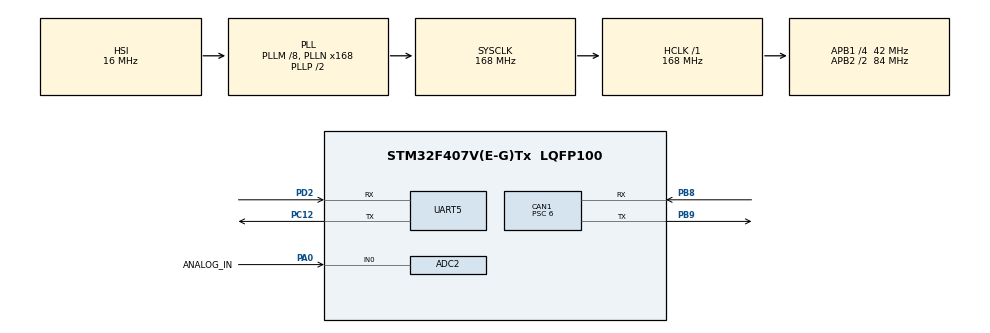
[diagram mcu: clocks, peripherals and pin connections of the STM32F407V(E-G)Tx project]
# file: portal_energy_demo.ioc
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Mcu.Family=STM32F4
FREERTOS.Queues01=adcDataQueue,16,8,1,Dynamic,NULL,NULL;canDataQueue,16,41,1,Dynamic,NULL,NULL;canRxDataQueue,20,8,1,Dynamic,NULL,NULL
CAN1.NART=ENABLE
PH0-OSC_IN.Signal=RCC_OSC_IN
RCC.CortexFreq_Value=168000000
FREERTOS.BinarySemaphores01=adcPinConversionReady,Dynamic,NULL;adcTemperatureConversionReady,Dynamic,NULL;uartTxReady,Dynamic,NULL;uartRxReady,Dynamic,NULL
Dma.ADC1.1.MemDataAlignment=DMA_MDATAALIGN_HALFWORD
VP_ADC1_TempSens_Input.Mode=IN-TempSens
ADC1.ContinuousConvMode=ENABLE
ADC2.Channel-0\#ChannelRegularConversion=ADC_CHANNEL_0
PC12.Signal=UART5_TX
Dma.UART5_TX.2.PeriphDataAlignment=DMA_PDATAALIGN_BYTE
RCC.SYSCLKSource=RCC_SYSCLKSOURCE_PLLCLK
ProjectManager.StackSize=0x400
VP_FREERTOS_VS_CMSIS_V2.Mode=CMSIS_V2
NVIC.UART5_IRQn=true\:5\:0\:false\:false\:true\:true\:true\:true
Dma.UART5_RX.3.MemDataAlignment=DMA_MDATAALIGN_BYTE
Dma.UART5_RX.3.Mode=DMA_NORMAL
Dma.UART5_TX.2.Mode=DMA_NORMAL
FREERTOS.configENABLE_FPU=1
Dma.ADC1.1.Instance=DMA2_Stream0
RCC.HCLKFreq_Value=168000000
Dma.ADC2.0.Direction=DMA_PERIPH_TO_MEMORY
RCC.APB2TimFreq_Value=168000000
Dma.ADC2.0.MemInc=DMA_MINC_ENABLE
Dma.ADC1.1.PeriphDataAlignment=DMA_PDATAALIGN_HALFWORD
NVIC.DMA2_Stream0_IRQn=true\:5\:0\:false\:false\:true\:true\:false\:true
RCC.AHBFreq_Value=168000000
PH0-OSC_IN.Mode=HSE-External-Oscillator
Dma.ADC2.0.Priority=DMA_PRIORITY_LOW
ADC1.Channel-0\#ChannelRegularConversion=ADC_CHANNEL_TEMPSENSOR
RCC.HSE_VALUE=8000000
CAN1.RFLM=ENABLE
Dma.UART5_TX.2.Priority=DMA_PRIORITY_LOW
PA14.Mode=Serial_Wire
VP_SYS_VS_tim1.Mode=TIM1
Dma.ADC1.1.Priority=DMA_PRIORITY_LOW
Dma.ADC1.1.Mode=DMA_NORMAL
SH.ADCx_IN0.0=ADC2_IN0,IN0
Dma.UART5_RX.3.Priority=DMA_PRIORITY_LOW
ADC1.SamplingTime-0\#ChannelRegularConversion=ADC_SAMPLETIME_3CYCLES
NVIC.DMA1_Stream7_IRQn=true\:5\:0\:false\:false\:true\:true\:false\:true
PH1-OSC_OUT.Mode=HSE-External-Oscillator
CAN1.Prescaler=6
Mcu.Package=LQFP100
PB9.Signal=CAN1_TX
NVIC.TimeBase=TIM1_UP_TIM10_IRQn
Dma.ADC1.1.Direction=DMA_PERIPH_TO_MEMORY
Dma.UART5_RX.3.PeriphInc=DMA_PINC_DISABLE
Dma.ADC1.1.MemInc=DMA_MINC_ENABLE
NVIC.TimeBaseIP=TIM1
ADC2.SamplingTime-0\#ChannelRegularConversion=ADC_SAMPLETIME_3CYCLES
Dma.ADC2.0.Mode=DMA_NORMAL
Dma.UART5_TX.2.Direction=DMA_MEMORY_TO_PERIPH
RCC.APB2CLKDivider=RCC_HCLK_DIV2
Dma.ADC2.0.PeriphDataAlignment=DMA_PDATAALIGN_HALFWORD
NVIC.DMA2_Stream2_IRQn=true\:5\:0\:false\:false\:true\:true\:false\:true
Dma.Request2=UART5_TX
Dma.Request1=ADC1
RCC.APB1TimFreq_Value=84000000
Dma.Request3=UART5_RX
NVIC.DMA1_Stream0_IRQn=true\:5\:0\:false\:false\:true\:true\:false\:true
ADC2.Rank-0\#ChannelRegularConversion=1
Dma.UART5_TX.2.Instance=DMA1_Stream7
Dma.Request0=ADC2
CAN1.CalculateTimeBit=1999.99
CAN1.CalculateTimeQuantum=142.85714285714286
Dma.UART5_TX.2.FIFOMode=DMA_FIFOMODE_DISABLE
FREERTOS.Tasks01=defaultTask,8,128,StartDefaultTask,Default,NULL,Dynamic,NULL,NULL;analogTask,24,128,StartAnalogTask,Default,NULL,Dynamic,NULL,NULL;uartTxTask,24,1024,StartUartTxTask,Default,NULL,Dynamic,NULL,NULL;uartRxTask,40,128,StartUartRxTask,Default,NULL,Dynamic,NULL,NULL;canTxTask,8,128,StartCanTxTask,Default,NULL,Dynamic,NULL,NULL;canRxTask,8,128,StartCanRxTask,Default,NULL,Dynamic,NULL,NULL
ADC1.Rank-0\#ChannelRegularConversion=1
CAN1.TXFP=ENABLE
CAN1.CalculateBaudRate=500000
Dma.UART5_TX.2.PeriphInc=DMA_PINC_DISABLE
UART5.VirtualMode=Asynchronous
RCC.APB1CLKDivider=RCC_HCLK_DIV4
PA0-WKUP.GPIO_Label=ANALOG_IN
PA0-WKUP.Signal=ADCx_IN0
PA13.Signal=SYS_JTMS-SWDIO
Dma.UART5_RX.3.Instance=DMA1_Stream0
Dma.UART5_TX.2.MemInc=DMA_MINC_ENABLE
CAN1.BS2=CAN_BS2_2TQ
CAN1.BS1=CAN_BS1_11TQ
ProjectManager.TargetToolchain=STM32CubeIDE
Dma.ADC2.0.MemDataAlignment=DMA_MDATAALIGN_HALFWORD
PB9.Mode=CAN_Activate
RCC.LSE_VALUE=32768
CAN1.ABOM=ENABLE
PD2.Mode=Asynchronous
PC12.Mode=Asynchronous
board=custom
RCC.VCOOutputFreq_Value=336000000
Dma.UART5_TX.2.MemDataAlignment=DMA_MDATAALIGN_BYTE
Dma.ADC2.0.PeriphInc=DMA_PINC_DISABLE
Dma.ADC1.1.FIFOMode=DMA_FIFOMODE_DISABLE
RCC.APB2Freq_Value=84000000
CAN1.Mode=CAN_MODE_SILENT_LOOPBACK
Dma.UART5_RX.3.FIFOMode=DMA_FIFOMODE_DISABLE
PH1-OSC_OUT.Signal=RCC_OSC_OUT
Dma.UART5_RX.3.PeriphDataAlignment=DMA_PDATAALIGN_BYTE
Dma.ADC1.1.PeriphInc=DMA_PINC_DISABLE
ADC1.DMAContinuousRequests=ENABLE
PA13.Mode=Serial_Wire
Mcu.Name=STM32F407V(E-G)Tx
Dma.UART5_RX.3.Direction=DMA_PERIPH_TO_MEMORY
CAN1.SJW=CAN_SJW_2TQ
RCC.48MHZClocksFreq_Value=84000000
RCC.SYSCLKFreq_VALUE=168000000
ADC1.master=1
ADC2.NbrOfConversionFlag=1
PA14.Signal=SYS_JTCK-SWCLK
ProjectManager.HeapSize=0x200
Dma.ADC2.0.FIFOMode=DMA_FIFOMODE_DISABLE
NVIC.TIM1_UP_TIM10_IRQn=true\:0\:0\:false\:false\:true\:false\:false\:true
RCC.HSI_VALUE=16000000
NVIC.PriorityGroup=NVIC_PRIORITYGROUP_4
ADC1.NbrOfConversionFlag=1
RCC.PLLM=8
PB8.Mode=CAN_Activate
RCC.PLLN=168
PB8.Signal=CAN1_RX
PD2.Signal=UART5_RX
RCC.APB1Freq_Value=42000000
Dma.ADC2.0.Instance=DMA2_Stream2
NVIC.CAN1_RX0_IRQn=true\:5\:0\:false\:false\:true\:true\:true\:true
Dma.UART5_RX.3.MemInc=DMA_MINC_ENABLE

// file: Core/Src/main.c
/* USER CODE BEGIN Header */
/**
  ******************************************************************************
  * @file           : main.c
  * @brief          : Main program body
  ******************************************************************************
  * @attention
  *
  * <h2><center>&copy; Copyright (c) 2021 STMicroelectronics.
  * All rights reserved.</center></h2>
  *
  * This software component is licensed by ST under BSD 3-Clause license,
  * the "License"; You may not use this file except in compliance with the
  * License. You may obtain a copy of the License at:
  *                        opensource.org/licenses/BSD-3-Clause
  *
  ******************************************************************************
  */
/* USER CODE END Header */
#include "main.h"
#include "cmsis_os.h"
#include "adc.h"
#include "can.h"
#include "dma.h"
#include "usart.h"
#include "gpio.h"

void SystemClock_Config(void);
void MX_FREERTOS_Init(void);

int main(void)
{

  /* MCU Configuration--------------------------------------------------------*/

  /* Reset of all peripherals, Initializes the Flash interface and the Systick. */
  HAL_Init();

  /* Configure the system clock */
  SystemClock_Config();

  /* Initialize all configured peripherals */
  MX_GPIO_Init();
  MX_DMA_Init();
  MX_ADC2_Init();
  MX_ADC1_Init();
  MX_UART5_Init();
  MX_CAN1_Init();

  /* Init scheduler */
  osKernelInitialize();  /* Call init function for freertos objects (in freertos.c) */
  MX_FREERTOS_Init();
  /* Start scheduler */
  osKernelStart();

  /* We should never get here as control is now taken by the scheduler */
  /* Infinite loop */
  while (1)
  {

  }
}

void SystemClock_Config(void)
{
  RCC_OscInitTypeDef RCC_OscInitStruct = {0};
  RCC_ClkInitTypeDef RCC_ClkInitStruct = {0};

  /** Configure the main internal regulator output voltage
  */
  __HAL_RCC_PWR_CLK_ENABLE();
  __HAL_PWR_VOLTAGESCALING_CONFIG(PWR_REGULATOR_VOLTAGE_SCALE1);
  /** Initializes the RCC Oscillators according to the specified parameters
  * in the RCC_OscInitTypeDef structure.
  */
  RCC_OscInitStruct.OscillatorType = RCC_OSCILLATORTYPE_HSI;
  RCC_OscInitStruct.HSIState = RCC_HSI_ON;
  RCC_OscInitStruct.HSICalibrationValue = RCC_HSICALIBRATION_DEFAULT;
  RCC_OscInitStruct.PLL.PLLState = RCC_PLL_ON;
  RCC_OscInitStruct.PLL.PLLSource = RCC_PLLSOURCE_HSI;
  RCC_OscInitStruct.PLL.PLLM = 8;
  RCC_OscInitStruct.PLL.PLLN = 168;
  RCC_OscInitStruct.PLL.PLLP = RCC_PLLP_DIV2;
  RCC_OscInitStruct.PLL.PLLQ = 4;
  if (HAL_RCC_OscConfig(&RCC_OscInitStruct) != HAL_OK)
  {
    Error_Handler();
  }
  /** Initializes the CPU, AHB and APB buses clocks
  */
  RCC_ClkInitStruct.ClockType = RCC_CLOCKTYPE_HCLK|RCC_CLOCKTYPE_SYSCLK
                              |RCC_CLOCKTYPE_PCLK1|RCC_CLOCKTYPE_PCLK2;
  RCC_ClkInitStruct.SYSCLKSource = RCC_SYSCLKSOURCE_PLLCLK;
  RCC_ClkInitStruct.AHBCLKDivider = RCC_SYSCLK_DIV1;
  RCC_ClkInitStruct.APB1CLKDivider = RCC_HCLK_DIV4;
  RCC_ClkInitStruct.APB2CLKDivider = RCC_HCLK_DIV2;

  if (HAL_RCC_ClockConfig(&RCC_ClkInitStruct, FLASH_LATENCY_5) != HAL_OK)
  {
    Error_Handler();
  }
}

 /**
  * @brief  Period elapsed callback in non blocking mode
  * @note   This function is called  when TIM1 interrupt took place, inside
  * HAL_TIM_IRQHandler(). It makes a direct call to HAL_IncTick() to increment
  * a global variable "uwTick" used as application time base.
  * @param  htim : TIM handle
  * @retval None
  */
void HAL_TIM_PeriodElapsedCallback(TIM_HandleTypeDef *htim)
{
  if (htim->Instance == TIM1) {
    HAL_IncTick();
  }
}

void Error_Handler(void)
{
  __disable_irq();
  while (1)
  {
  }
}

/************************ (C) COPYRIGHT STMicroelectronics *****END OF FILE****/

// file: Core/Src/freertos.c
/* USER CODE BEGIN Header */
/**
  ******************************************************************************
  * File Name          : freertos.c
  * Description        : Code for freertos applications
  ******************************************************************************
  * @attention
  *
  * <h2><center>&copy; Copyright (c) 2021 STMicroelectronics.
  * All rights reserved.</center></h2>
  *
  * This software component is licensed by ST under Ultimate Liberty license
  * SLA0044, the "License"; You may not use this file except in compliance with
  * the License. You may obtain a copy of the License at:
  *                             www.st.com/SLA0044
  *
  ******************************************************************************
  */
/* USER CODE END Header */

#include "FreeRTOS.h"
#include "task.h"
#include "main.h"
#include "cmsis_os.h"

/* USER CODE BEGIN Includes */

#include <string.h>
#include <stdio.h>

/* USER CODE END Includes */

/* USER CODE BEGIN PTD */

volatile uint8_t uartErrorFlag = 0;

/* USER CODE END PTD */

/* USER CODE BEGIN Variables */
extern ADC_HandleTypeDef hadc1;
extern ADC_HandleTypeDef hadc2;

extern UART_HandleTypeDef huart5;

extern CAN_HandleTypeDef hcan1;

uint16_t adcRawBuffer[ADC_BUF_LEN] = {0};

/* USER CODE END Variables */
/* Definitions for defaultTask */
osThreadId_t defaultTaskHandle;
const osThreadAttr_t defaultTask_attributes = {
  .name = "defaultTask",
  .stack_size = 128 * 4,
  .priority = (osPriority_t) osPriorityLow,
};
/* Definitions for analogTask */
osThreadId_t analogTaskHandle;
const osThreadAttr_t analogTask_attributes = {
  .name = "analogTask",
  .stack_size = 128 * 4,
  .priority = (osPriority_t) osPriorityNormal,
};
/* Definitions for uartTxTask */
osThreadId_t uartTxTaskHandle;
const osThreadAttr_t uartTxTask_attributes = {
  .name = "uartTxTask",
  .stack_size = 1024 * 4,
  .priority = (osPriority_t) osPriorityNormal,
};
/* Definitions for uartRxTask */
osThreadId_t uartRxTaskHandle;
const osThreadAttr_t uartRxTask_attributes = {
  .name = "uartRxTask",
  .stack_size = 128 * 4,
  .priority = (osPriority_t) osPriorityHigh,
};
/* Definitions for canTxTask */
osThreadId_t canTxTaskHandle;
const osThreadAttr_t canTxTask_attributes = {
  .name = "canTxTask",
  .stack_size = 128 * 4,
  .priority = (osPriority_t) osPriorityLow,
};
/* Definitions for canRxTask */
osThreadId_t canRxTaskHandle;
const osThreadAttr_t canRxTask_attributes = {
  .name = "canRxTask",
  .stack_size = 128 * 4,
  .priority = (osPriority_t) osPriorityLow,
};
/* Definitions for adcDataQueue */
osMessageQueueId_t adcDataQueueHandle;
const osMessageQueueAttr_t adcDataQueue_attributes = {
  .name = "adcDataQueue"
};
/* Definitions for canDataQueue */
osMessageQueueId_t canDataQueueHandle;
const osMessageQueueAttr_t canDataQueue_attributes = {
  .name = "canDataQueue"
};
/* Definitions for canRxDataQueue */
osMessageQueueId_t canRxDataQueueHandle;
const osMessageQueueAttr_t canRxDataQueue_attributes = {
  .name = "canRxDataQueue"
};
/* Definitions for adcPinConversionReady */
osSemaphoreId_t adcPinConversionReadyHandle;
const osSemaphoreAttr_t adcPinConversionReady_attributes = {
  .name = "adcPinConversionReady"
};
/* Definitions for adcTemperatureConversionReady */
osSemaphoreId_t adcTemperatureConversionReadyHandle;
const osSemaphoreAttr_t adcTemperatureConversionReady_attributes = {
  .name = "adcTemperatureConversionReady"
};
/* Definitions for uartTxReady */
osSemaphoreId_t uartTxReadyHandle;
const osSemaphoreAttr_t uartTxReady_attributes = {
  .name = "uartTxReady"
};
/* Definitions for uartRxReady */
osSemaphoreId_t uartRxReadyHandle;
const osSemaphoreAttr_t uartRxReady_attributes = {
  .name = "uartRxReady"
};

/* USER CODE BEGIN FunctionPrototypes */
uint32_t getAverage(uint16_t* buffer, uint16_t len) {
	uint32_t average = 0;
	for(uint16_t i = 0; i < len; ++i)
		average  += buffer[i];
	return (average / len);
}

int32_t calculateTemperature(const uint32_t* const rawData) {
	if (rawData == NULL)
		return TEMPERATURE_ERROR;

	// Calculate temperature with calibration coefficients
	int32_t temperature = (*rawData - (int32_t) *TEMP30_CAL_ADDR );
	temperature = temperature / (int32_t)(*TEMP110_CAL_ADDR - *TEMP30_CAL_ADDR);
	temperature = temperature + 25;
	return temperature;
}
/* USER CODE END FunctionPrototypes */

void StartDefaultTask(void *argument);
void StartAnalogTask(void *argument);
void StartUartTxTask(void *argument);
void StartUartRxTask(void *argument);
void StartCanTxTask(void *argument);
void StartCanRxTask(void *argument);

void MX_FREERTOS_Init(void); /* (MISRA C 2004 rule 8.1) */

void MX_FREERTOS_Init(void) {

  /* Create the semaphores(s) */
  /* creation of adcPinConversionReady */
  adcPinConversionReadyHandle = osSemaphoreNew(1, 1, &adcPinConversionReady_attributes);

  /* creation of adcTemperatureConversionReady */
  adcTemperatureConversionReadyHandle = osSemaphoreNew(1, 1, &adcTemperatureConversionReady_attributes);

  /* creation of uartTxReady */
  uartTxReadyHandle = osSemaphoreNew(1, 1, &uartTxReady_attributes);

  /* creation of uartRxReady */
  uartRxReadyHandle = osSemaphoreNew(1, 1, &uartRxReady_attributes);

  /* Create the queue(s) */
  /* creation of adcDataQueue */
  adcDataQueueHandle = osMessageQueueNew (16, sizeof(struct adc_data_t),
		  &adcDataQueue_attributes);

  /* creation of canDataQueue */
  canDataQueueHandle = osMessageQueueNew (16, UART_BUF_LEN,
		  &canDataQueue_attributes);

  /* creation of canRxDataQueue */
  canRxDataQueueHandle = osMessageQueueNew (20, CAN_BUF_LEN,
		  &canRxDataQueue_attributes);

  /* Create the thread(s) */
  /* creation of defaultTask */
  defaultTaskHandle = osThreadNew(StartDefaultTask, NULL, &defaultTask_attributes);

  /* creation of analogTask */
  analogTaskHandle = osThreadNew(StartAnalogTask, NULL, &analogTask_attributes);

  /* creation of uartTxTask */
  uartTxTaskHandle = osThreadNew(StartUartTxTask, NULL, &uartTxTask_attributes);

  /* creation of uartRxTask */
  uartRxTaskHandle = osThreadNew(StartUartRxTask, NULL, &uartRxTask_attributes);

  /* creation of canTxTask */
  canTxTaskHandle = osThreadNew(StartCanTxTask, NULL, &canTxTask_attributes);

  /* creation of canRxTask */
  canRxTaskHandle = osThreadNew(StartCanRxTask, NULL, &canRxTask_attributes);

}

void StartDefaultTask(void *argument)
{
  for(;;)
  {
    osDelay(1);
  }
}

void StartAnalogTask(void *argument)
{
  /* USER CODE BEGIN StartAnalogTask */
	/* Infinite loop */
	osStatus_t osStatus = osError;
	HAL_StatusTypeDef halStatus = HAL_ERROR;

	uint32_t averageValue = 0;
	struct adc_data_t adcValues;

	// Reset semaphores
	osSemaphoreAcquire(adcTemperatureConversionReadyHandle, osWaitForever);
	osSemaphoreAcquire(adcPinConversionReadyHandle, osWaitForever);

	for(;;) {

		// Run temperature conversion
		halStatus = HAL_ADC_Start_DMA(&hadc1,
				(uint32_t*)adcRawBuffer, ADC_BUF_LEN);

		// Wait for temperature conversion ready
		osStatus = osSemaphoreAcquire(adcTemperatureConversionReadyHandle,
				osWaitForever);

		if (halStatus == HAL_OK && osStatus == osOK) {
			averageValue = getAverage(adcRawBuffer, ADC_BUF_LEN);
			adcValues.temperature = calculateTemperature(&averageValue);
		}
		else {
			adcValues.temperature = TEMPERATURE_ERROR;
		}

		// Run pin conversion
		halStatus = HAL_ADC_Start_DMA(&hadc2,
				(uint32_t*)adcRawBuffer, ADC_BUF_LEN);

		// Wait for pin conversion ready
		osStatus = osSemaphoreAcquire(adcPinConversionReadyHandle,
				osWaitForever);

		if (halStatus == HAL_OK && osStatus == osOK) {
			averageValue = getAverage(adcRawBuffer, ADC_BUF_LEN);

			// Convert ADC value to voltage;
			adcValues.voltage = (float)averageValue * VSENSE;
		}
		else {
			adcValues.voltage = VOLTAGE_ERROR;
		}

		// Transmit ADC data
		osMessageQueuePut(adcDataQueueHandle, &adcValues, 0, osWaitForever);
		osDelay(25);
	}

	// Never get here
	osThreadTerminate(analogTaskHandle);
  /* USER CODE END StartAnalogTask */
}

void StartUartTxTask(void *argument)
{
  /* USER CODE BEGIN StartUartTxTask */
  /* Infinite loop */
	osStatus_t osStatus = osError;
	struct adc_data_t adcValues;
	char uartTxMessage[UART_BUF_LEN] = {""};
	int length = 0;

	// Reset semaphore
	osSemaphoreAcquire(uartTxReadyHandle, osWaitForever);
	for(;;) {
		// Wait until the queue is empty
		osStatus = osMessageQueueGet(adcDataQueueHandle, &adcValues,
				NULL, osWaitForever);

		if (osStatus != osOK)
			continue;

		// Set ADC data in the buffer
		length = snprintf(uartTxMessage, UART_BUF_LEN,
				"Temperature: %d C | Voltage %.2f V\n",
				(int)adcValues.temperature, adcValues.voltage);

		// If copy failed
		if (length <= 0) {
			memset(uartTxMessage, 0, UART_BUF_LEN);
			continue;
		}

		// Transmit buffer via UART
		HAL_UART_Transmit_DMA(&huart5, (uint8_t*)uartTxMessage, UART_BUF_LEN);

		// Wait for the end of transaction
		osSemaphoreAcquire(uartTxReadyHandle, osWaitForever);

		// Clear buffer
		memset(uartTxMessage, 0, UART_BUF_LEN);
	}
  /* USER CODE END StartUartTxTask */
}

void StartUartRxTask(void *argument)
{
  /* USER CODE BEGIN StartUartRxTask */
  /* Infinite loop */
	osStatus_t osStatus = osError;
	HAL_StatusTypeDef halStatus = HAL_ERROR;
	char uartRxMessage[UART_BUF_LEN] = {""};

	// Reset semaphore
	osSemaphoreAcquire(uartRxReadyHandle, osWaitForever);
	for(;;) {
		// Receive UART message
		halStatus = HAL_UART_Receive_DMA(&huart5,
				(uint8_t*)uartRxMessage, UART_BUF_LEN);

		// Wait until receiving is done
		osStatus = osSemaphoreAcquire(uartRxReadyHandle, osWaitForever);

		if (halStatus == HAL_OK && osStatus == osOK) {

			// clear corrupted data
			if (uartErrorFlag) {
				uartErrorFlag = 0;
				memset(uartRxMessage, 0, UART_BUF_LEN);
				continue;
			}

			// Send UART message CAN_TX task, JUST FOR DEMO ONLY!!!
			osMessageQueuePut(canDataQueueHandle,
					uartRxMessage, 0, osWaitForever);
		}
	}
  /* USER CODE END StartUartRxTask */
}

void StartCanTxTask(void *argument)
{
  /* USER CODE BEGIN StartCanTxTask */
  /* Infinite loop */

	osStatus_t osStatus = osError;
	HAL_StatusTypeDef halStatus = HAL_ERROR;

	char messageBuffer[UART_BUF_LEN] = {""};
	char canChunk[CAN_BUF_LEN] = {""};
	uint32_t canTxMailbox = 0;

	CAN_TxHeaderTypeDef canTxHeader;
	canTxHeader.StdId = 0x111;
	canTxHeader.ExtId = 0;
	canTxHeader.RTR = CAN_RTR_DATA;
	canTxHeader.IDE = CAN_ID_STD;
	canTxHeader.TransmitGlobalTime = DISABLE;

	// Start the CAN module
	HAL_CAN_Start(&hcan1);

	// enable RX data; case ONLY FOR DEMO MODE !!!
	HAL_CAN_ActivateNotification(&hcan1, CAN_IT_RX_FIFO0_MSG_PENDING);

	for(;;) {
		// Receive data chunk
		osStatus = osMessageQueueGet(canDataQueueHandle, messageBuffer,
				NULL, osWaitForever);

		if (osStatus != osOK)
			continue;

		uint8_t i = 0;
		uint8_t run = 1;
		uint8_t shift = 0;
		uint8_t copySize = 0;

		// Cut UART message on CAN chunks
		while(run) {
			shift = i++ * CAN_BUF_LEN;
			if (shift + CAN_BUF_LEN >= UART_BUF_LEN) {
				copySize = UART_BUF_LEN - shift;
				run = 0;

				// Clear junk before partial filling
				memset(canChunk, 0, CAN_BUF_LEN);
			}
			else {
				copySize = CAN_BUF_LEN;
			}
			memcpy(canChunk, messageBuffer + shift, copySize);
			canTxHeader.DLC = copySize;

			// Wait until at least one CAN mailbox is free
			while(HAL_CAN_GetTxMailboxesFreeLevel(&hcan1) == 0);

			halStatus = HAL_CAN_AddTxMessage(&hcan1, &canTxHeader,
						(uint8_t*)canChunk, &canTxMailbox);

			if (halStatus != HAL_OK) {
				run = 0;
			}
		}
		memset(canChunk, 0, CAN_BUF_LEN);
	}
  /* USER CODE END StartCanTxTask */
}

void StartCanRxTask(void *argument)
{
  /* USER CODE BEGIN StartCanRxTask */
  /* Infinite loop */
	osStatus_t osStatus = osError;
	uint8_t canData[CAN_BUF_LEN] = {""};

	for(;;) {
		osStatus = osMessageQueueGet(canRxDataQueueHandle, canData,
				NULL, osWaitForever);
		// Do something with data
	}
  /* USER CODE END StartCanRxTask */
}

/************************ (C) COPYRIGHT STMicroelectronics *****END OF FILE****/
